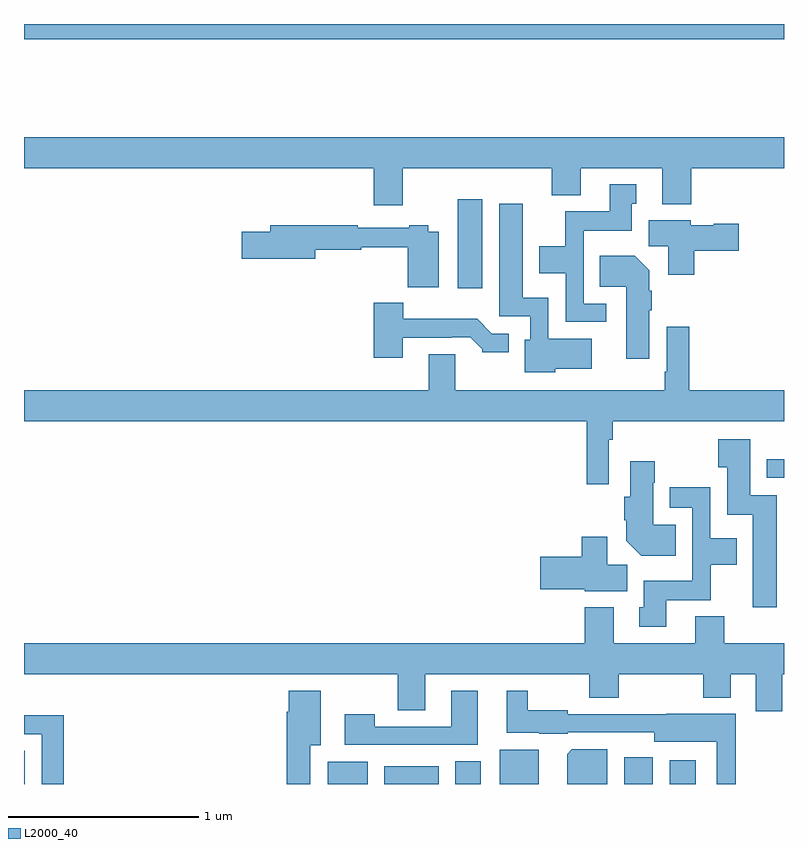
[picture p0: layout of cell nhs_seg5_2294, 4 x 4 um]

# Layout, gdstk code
import gdstk
lib = gdstk.Library(unit=1e-6, precision=1e-09)
def R(c, l, rs):  # rectangles x0, y0, x1, y1
    for r in rs: c.add(gdstk.rectangle(r[:2], r[2:], *l))
def P(c, l, *ps):  # polygons
    for p in ps: c.add(gdstk.Polygon(p, *l))
L2000_40 = (2000, 40)

nhs_seg5_2294 = lib.new_cell('nhs_seg5_2294')
R(nhs_seg5_2294, L2000_40, [(243,906.799,243.004,906.973), (244.598,906.799,244.81,906.916), (244.895,906.799,245.182,906.892), (245.27,906.799,245.404,906.92), (245.504,906.799,245.71,906.98), (246.158,906.799,246.31,906.941), (246.398,906.799,246.535,906.925), (245.282,909.408,245.413,909.877), (243,910.72,247,910.799)])
P(nhs_seg5_2294, L2000_40, [(244.993,910.04),(245.777,910.04),(245.777,909.899),(245.929,909.899),(245.929,910.04),(246.359,910.04),(246.359,909.851),(246.512,909.851),(246.512,910.04),(247,910.04),(247,910.204),(243,910.204),(243,910.04),(244.841,910.04),(244.841,909.846),(244.993,909.846)],
  [(246.064,909.327),(245.946,909.327),(245.946,909.71),(246.199,909.71),(246.199,909.852),(246.223,909.852),(246.223,909.955),(246.083,909.955),(246.083,909.814),(245.848,909.814),(245.848,909.628),(245.711,909.628),(245.711,909.488),(245.85,909.488),(245.85,909.231),(246.064,909.231)],
  [(245.796,908.984),(245.989,908.984),(245.989,909.142),(245.76,909.142),(245.76,909.358),(245.626,909.358),(245.626,909.853),(245.501,909.853),(245.501,909.261),(245.664,909.261),(245.664,909.138),(245.636,909.138),(245.636,908.966),(245.796,908.966)],
  [(246.527,909.605),(246.763,909.605),(246.763,909.747),(246.63,909.747),(246.63,909.739),(246.51,909.739),(246.51,909.766),(246.287,909.766),(246.287,909.628),(246.392,909.628),(246.392,909.48),(246.527,909.48)],
  [(245.182,909.706),(245.127,909.706),(245.127,909.739),(245.027,909.739),(245.027,909.726),(244.757,909.726),(244.757,909.739),(244.295,909.739),(244.295,909.705),(244.146,909.705),(244.146,909.563),(244.534,909.563),(244.534,909.61),(244.776,909.61),(244.776,909.625),(245.02,909.625),(245.02,909.413),(245.182,909.413)],
  [(246.292,909.292),(246.305,909.292),(246.305,909.395),(246.292,909.395),(246.292,909.502),(246.214,909.58),(246.031,909.58),(246.031,909.416),(246.17,909.416),(246.17,909.036),(246.292,909.036)],
  [(244.993,909.147),(245.249,909.147),(245.249,909.15),(245.348,909.15),(245.412,909.086),(245.412,909.071),(245.551,909.071),(245.551,909.168),(245.463,909.168),(245.385,909.247),(244.996,909.247),(244.996,909.331),(244.841,909.331),(244.841,909.042),(244.993,909.042)],
  [(246.078,908.612),(246.098,908.612),(246.098,908.708),(247,908.708),(247,908.872),(246.5,908.872),(246.5,909.205),(246.384,909.205),(246.384,908.968),(246.372,908.968),(246.372,908.872),(245.269,908.872),(245.269,909.062),(245.129,909.062),(245.129,908.872),(243,908.872),(243,908.708),(245.962,908.708),(245.962,908.376),(246.078,908.376)],
  [(246.961,908.319),(246.823,908.319),(246.823,908.614),(246.655,908.614),(246.655,908.467),(246.701,908.467),(246.701,908.216),(246.836,908.216),(246.836,907.728),(246.961,907.728)],
  [(247,908.509),(246.908,908.509),(246.908,908.412),(246.999,908.412),(247,908.411)],
  [(246.431,908.164),(246.313,908.164),(246.313,908.384),(246.321,908.384),(246.321,908.497),(246.191,908.497),(246.191,908.31),(246.158,908.31),(246.158,908.188),(246.17,908.188),(246.17,908.078),(246.248,908),(246.431,908)],
  [(246.379,907.766),(246.615,907.766),(246.615,907.952),(246.751,907.952),(246.751,908.092),(246.612,908.092),(246.612,908.362),(246.399,908.362),(246.399,908.253),(246.516,908.253),(246.516,907.87),(246.263,907.87),(246.263,907.728),(246.239,907.728),(246.239,907.626),(246.379,907.626)],
  [(246.175,907.952),(246.07,907.952),(246.07,908.101),(245.936,908.101),(245.936,907.994),(245.718,907.994),(245.718,907.823),(245.952,907.823),(245.952,907.814),(246.175,907.814)],
  [(246.991,907.376),(247,907.376),(247,907.54),(246.686,907.54),(246.686,907.681),(246.533,907.681),(246.533,907.54),(246.103,907.54),(246.103,907.729),(245.951,907.729),(245.951,907.54),(243,907.54),(243,907.376),(244.966,907.376),(244.966,907.186),(245.113,907.186),(245.113,907.376),(245.974,907.376),(245.974,907.252),(246.129,907.252),(246.129,907.376),(246.574,907.376),(246.574,907.253),(246.721,907.253),(246.721,907.376),(246.851,907.376),(246.851,907.182),(246.991,907.182)],
  [(245.389,907.291),(245.249,907.291),(245.249,907.101),(244.845,907.101),(244.845,907.165),(244.689,907.165),(244.689,907.005),(245.389,907.005)],
  [(244.507,907.004),(244.561,907.004),(244.561,907.291),(244.394,907.291),(244.394,907.178),(244.382,907.178),(244.382,906.799),(244.507,906.799)],
  [(246.746,907.168),(246.379,907.168),(246.379,907.167),(245.862,907.167),(245.862,907.186),(245.65,907.186),(245.65,907.291),(245.54,907.291),(245.54,907.07),(245.712,907.07),(245.712,907.064),(245.862,907.064),(245.862,907.071),(246.317,907.071),(246.317,907.022),(246.645,907.022),(246.645,906.799),(246.746,906.799)],
  [(243.209,907.16),(243,907.16),(243,907.062),(243.093,907.062),(243.093,906.799),(243.209,906.799)],
  [(246.07,906.982),(245.884,906.982),(245.858,906.956),(245.858,906.799),(246.07,906.799)])

lib.write_gds('nhs_seg5_2294.gds')
